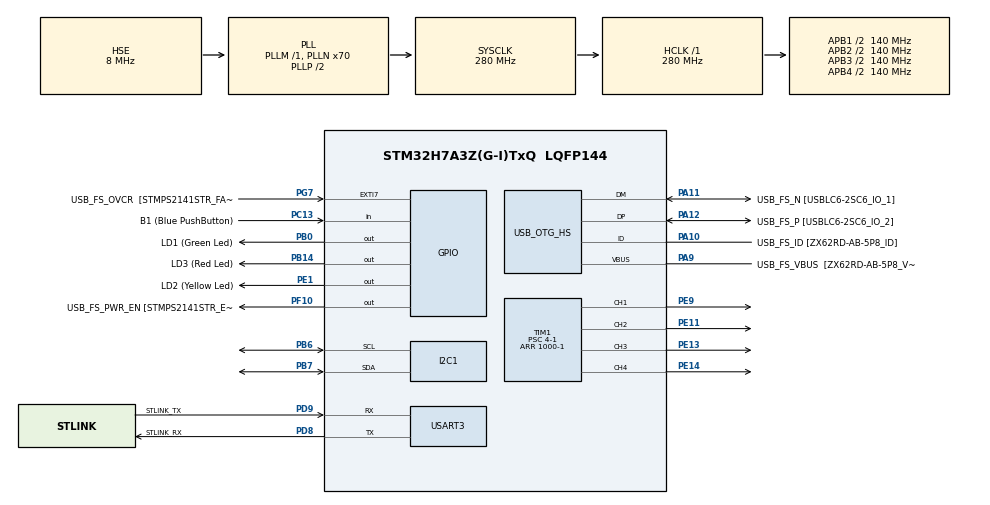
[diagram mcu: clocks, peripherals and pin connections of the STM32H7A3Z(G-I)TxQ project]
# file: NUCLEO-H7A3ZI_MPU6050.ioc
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I2C1.Timing=0x20B0CCFF
Mcu.Family=STM32H7
Mcu.Name=STM32H7A3Z(G-I)TxQ
Mcu.Package=LQFP144
NVIC.PriorityGroup=NVIC_PRIORITYGROUP_4
NVIC.TIM7_IRQn=true\:0\:0\:false\:false\:true\:true\:true\:true
PA10.GPIO_Label=USB_FS_ID [ZX62RD-AB-5P8_ID]
PA10.Mode=OTG/Dual-Role-Device-FS
PA10.Signal=USB_OTG_HS_ID
PA11.GPIO_Label=USB_FS_N [USBLC6-2SC6_IO_1]
PA11.Mode=OTG/Dual-Role-Device-FS
PA11.Signal=USB_OTG_HS_DM
PA12.GPIO_Label=USB_FS_P [USBLC6-2SC6_IO_2]
PA12.Mode=OTG/Dual-Role-Device-FS
PA12.Signal=USB_OTG_HS_DP
PA9.GPIO_Label=USB_FS_VBUS  [ZX62RD-AB-5P8_VBUS]
PA9.Mode=Activate_VBUS_FS
PA9.Signal=USB_OTG_HS_VBUS
PB0.GPIO_Label=LD1 (Green Led)
PB0.Signal=GPIO_Output
PB14.GPIO_Label=LD3 (Red Led)
PB14.Signal=GPIO_Output
PB6.Mode=I2C
PB6.Signal=I2C1_SCL
PB7.Mode=I2C
PB7.Signal=I2C1_SDA
PC13.GPIO_Label=B1 (Blue PushButton)
PC13.Signal=GPIO_Input
PC14-OSC32_IN.GPIO_Label=OSC32_IN
PC14-OSC32_IN.Mode=LSE-External-Oscillator
PC14-OSC32_IN.Signal=RCC_OSC32_IN
PC15-OSC32_OUT.GPIO_Label=OSC32_OUT
PC15-OSC32_OUT.Mode=LSE-External-Oscillator
PC15-OSC32_OUT.Signal=RCC_OSC32_OUT
PD8.GPIO_Label=STLINK_RX
PD8.Mode=Asynchronous
PD8.Signal=USART3_TX
PD9.GPIO_Label=STLINK_TX
PD9.Mode=Asynchronous
PD9.Signal=USART3_RX
PE1.GPIO_Label=LD2 (Yellow Led)
PE1.Signal=GPIO_Output
PE11.Signal=S_TIM1_CH2
PE13.Signal=S_TIM1_CH3
PE14.Signal=S_TIM1_CH4
PE9.Signal=S_TIM1_CH1
PF10.GPIO_Label=USB_FS_PWR_EN [STMPS2141STR_EN]
PF10.Signal=GPIO_Output
PG7.GPIO_Label=USB_FS_OVCR  [STMPS2141STR_FAULT]
PG7.Signal=GPXTI7
PH0-OSC_IN.GPIO_Label=PH0-MCU
PH0-OSC_IN.Mode=HSE-External-Clock-Source
PH0-OSC_IN.Signal=RCC_OSC_IN
PH1-OSC_OUT.GPIO_Label=PH1-MCU
PH1-OSC_OUT.Signal=RCC_OSC_OUT
ProjectManager.HeapSize=0x200
ProjectManager.StackSize=0x400
ProjectManager.TargetToolchain=STM32CubeIDE
RCC.ADCFreq_Value=16125000
RCC.APB1Freq_Value=140000000
RCC.APB2Freq_Value=140000000
RCC.APB3Freq_Value=140000000
RCC.APB4Freq_Value=140000000
RCC.CDPPRE=RCC_APB3_DIV2
RCC.CDPPRE1=RCC_APB1_DIV2
RCC.CDPPRE2=RCC_APB2_DIV2
RCC.CortexFreq_Value=280000000
RCC.DIVM1=1
RCC.DIVM3=1
RCC.DIVN1=70
RCC.DIVN3=24
RCC.DIVQ1=4
RCC.HCLKFreq_Value=280000000
RCC.HSE_VALUE=8000000
RCC.PLLFRACN=0
RCC.PLLSourceVirtual=RCC_PLLSOURCE_HSE
RCC.PWR_Regulator_Voltage_Scale=PWR_REGULATOR_VOLTAGE_SCALE0
RCC.SRDPPRE=RCC_APB4_DIV2
RCC.SYSCLKFreq_VALUE=280000000
RCC.SYSCLKSource=RCC_SYSCLKSOURCE_PLLCLK
RCC.SupplySource=PWR_DIRECT_SMPS_SUPPLY
RCC.USBCLockSelection=RCC_USBCLKSOURCE_HSI48
RCC.USBFreq_Value=48000000
SH.S_TIM1_CH1.0=TIM1_CH1,PWM Generation1 CH1
SH.S_TIM1_CH2.0=TIM1_CH2,PWM Generation2 CH2
SH.S_TIM1_CH3.0=TIM1_CH3,PWM Generation3 CH3
SH.S_TIM1_CH4.0=TIM1_CH4,PWM Generation4 CH4
TIM1.Channel-PWM\ Generation1\ CH1=TIM_CHANNEL_1
TIM1.Channel-PWM\ Generation2\ CH2=TIM_CHANNEL_2
TIM1.Channel-PWM\ Generation3\ CH3=TIM_CHANNEL_3
TIM1.Channel-PWM\ Generation4\ CH4=TIM_CHANNEL_4
TIM1.Period=1000-1
TIM1.Prescaler=4-1
TIM7.Period=1000-1
TIM7.Prescaler=28000-1
USART3.VirtualMode-Asynchronous=VM_ASYNC
VP_TIM1_VS_ClockSourceINT.Mode=Internal
VP_TIM7_VS_ClockSourceINT.Mode=Enable_Timer
board=NUCLEO-H7A3ZI-Q

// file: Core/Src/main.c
/* USER CODE BEGIN Header */
/**
 ******************************************************************************
 * @file           : main.c
 * @brief          : Main program body
 ******************************************************************************
 * @attention
 *
 * Copyright (c) 2023 STMicroelectronics.
 * All rights reserved.
 *
 * This software is licensed under terms that can be found in the LICENSE file
 * in the root directory of this software component.
 * If no LICENSE file comes with this software, it is provided AS-IS.
 *
 ******************************************************************************
 */
/* USER CODE END Header */
#include "main.h"
#include "i2c.h"
#include "tim.h"
#include "usart.h"
#include "usb_otg.h"
#include "gpio.h"

/* USER CODE BEGIN PD */
#define UARTTXSIZE 32
#define MPU6050_ADDR 0xD0
#define SMPLRT_DIV_REG 0x19
#define GYRO_CONFIG_REG 0x1B
#define ACCEL_CONFIG_REG 0x1C
#define ACCEL_XOUT_H_REG 0x3B
#define TEMP_OUT_H_REG 0x41
#define GYRO_XOUT_H_REG 0x43
#define PWR_MGMT_1_REG 0x6B
#define WHO_AM_I_REG 0x75

/* USER CODE END PD */

/* USER CODE BEGIN PV */
uint8_t timFlagIt = 0;
float x,y,z;
char uartTxBuffer[UARTTXSIZE];
uint8_t sizeStr;
uint8_t check;
/* USER CODE END PV */

void SystemClock_Config(void);

int main(void)
{

	/* MCU Configuration--------------------------------------------------------*/

	/* Reset of all peripherals, Initializes the Flash interface and the Systick. */
	HAL_Init();

	/* Configure the system clock */
	SystemClock_Config();

	/* Initialize all configured peripherals */
	MX_GPIO_Init();
	MX_USART3_UART_Init();
	MX_USB_OTG_HS_USB_Init();
	MX_I2C1_Init();						 //I2C port used here to communicate (and especially read) information received by
	MX_TIM7_Init();                      //Timer defined to just have a acceptable clock to display on Putty (for Windows) the X,Y,Z acceleration and angular velocity.
	MX_TIM1_Init();						 //Timer used here to set a PWM for controlling the motors.
	/* USER CODE BEGIN 2 */
	HAL_TIM_Base_Start_IT(&htim7);
	HAL_TIM_PWM_Start(&htim1, TIM_CHANNEL_1); //Start the PWM we wanted for each motor.
	HAL_TIM_PWM_Start(&htim1, TIM_CHANNEL_2);
	HAL_TIM_PWM_Start(&htim1, TIM_CHANNEL_3);
	HAL_TIM_PWM_Start(&htim1, TIM_CHANNEL_4);
	__HAL_TIM_SET_COMPARE(&htim1, TIM_CHANNEL_1, 800); //Function already implemented in HAL library and allows to compare to a variable CCR (here 800, choosed by myself) and get the exact duty cycle we wanted.
	__HAL_TIM_SET_COMPARE(&htim1, TIM_CHANNEL_2, 600);
	__HAL_TIM_SET_COMPARE(&htim1, TIM_CHANNEL_3, 400);
	__HAL_TIM_SET_COMPARE(&htim1, TIM_CHANNEL_4, 200);

	//Init MPU6050
	HAL_I2C_Mem_Read(&hi2c1, MPU6050_ADDR, WHO_AM_I_REG, 1, &check, 1, 1000);
	if (check == 0x68)  // 0x68 will be returned by the sensor if everything goes well according to the DataSheet
	{
		uint8_t Data;
		// power management register 0X6B we should write all 0's to wake the sensor up
		Data = 0;
		HAL_I2C_Mem_Write(&hi2c1, MPU6050_ADDR, PWR_MGMT_1_REG, 1,&Data, 1, 1000);

		// Set DATA RATE of 1KHz by writing SMPLRT_DIV register
		Data = 0x07;
		HAL_I2C_Mem_Write(&hi2c1, MPU6050_ADDR, SMPLRT_DIV_REG, 1, &Data, 1, 1000);

		// Set accelerometer configuration in ACCEL_CONFIG Register
		// XA_ST=0,YA_ST=0,ZA_ST=0, FS_SEL=0 -> ± 2g
		Data = 0x00;
		HAL_I2C_Mem_Write(&hi2c1, MPU6050_ADDR, ACCEL_CONFIG_REG, 1, &Data, 1, 1000);

		// Set Gyroscopic configuration in GYRO_CONFIG Register
		// XG_ST=0,YG_ST=0,ZG_ST=0, FS_SEL=0 -> ± 250 °/s
		Data = 0x00;
		HAL_I2C_Mem_Write(&hi2c1, MPU6050_ADDR, GYRO_CONFIG_REG, 1, &Data, 1, 1000);
	}
	/* USER CODE END 2 */

	/* Infinite loop */
	/* USER CODE BEGIN WHILE */
	while (1)
	{
		if(timFlagIt){
			uint8_t Rec_Data[6];
			int16_t Accel_X_RAW = 0;
			int16_t Accel_Y_RAW = 0;
			int16_t Accel_Z_RAW = 0;
			HAL_I2C_Mem_Read (&hi2c1, MPU6050_ADDR, ACCEL_XOUT_H_REG, 1, Rec_Data, 6, 1000); //We use HAL library to read 6 bytes data using I2C communication

			Accel_X_RAW = (int16_t)(Rec_Data[0] << 8 | Rec_Data [1]); //We define a Rec_Data array to stock data
			Accel_Y_RAW = (int16_t)(Rec_Data[2] << 8 | Rec_Data [3]); //received from the MPU6050 in variables
			Accel_Z_RAW = (int16_t)(Rec_Data[4] << 8 | Rec_Data [5]); //Accel_X_RAW, Accel_Y_RAW and Accel_Z_RAW
																	  //which are 16bits signed integer (int16_t).
			x = Accel_X_RAW/16384.0; //Same here. But we divide by 16384.0 to obtain acceleration values in gravity units (in g).
			y = Accel_Y_RAW/16384.0;
			z = Accel_Z_RAW/16384.0;

			sizeStr = snprintf(uartTxBuffer, UARTTXSIZE, "X=%1.3f, Y=%1.3f, Z=%1.3f\r\n",x,y,z); //snprintf is used to format the values of x, y, and z into a string and stores it in uartTxBuffer

			HAL_UART_Transmit(&huart3, uartTxBuffer, sizeStr, 100); //the string is transmitted over UART using HAL.

			int16_t Accel_PHI_RAW = 0;
			int16_t Accel_THETA_RAW = 0;
			int16_t Accel_PSI_RAW = 0;
			HAL_I2C_Mem_Read (&hi2c1, MPU6050_ADDR, GYRO_XOUT_H_REG, 1, Rec_Data, 6, 1000);

			Accel_PHI_RAW = (int16_t)(Rec_Data[0] << 8 | Rec_Data [1]); //Same here to get the angular velocity.
			Accel_THETA_RAW = (int16_t)(Rec_Data[2] << 8 | Rec_Data [3]);
			Accel_PSI_RAW = (int16_t)(Rec_Data[4] << 8 | Rec_Data [5]);

			float PHI = Accel_PHI_RAW/16384.0;
			float THETA = Accel_THETA_RAW/16384.0;
			float PSI = Accel_PSI_RAW/16384.0;

			sizeStr = snprintf(uartTxBuffer, UARTTXSIZE, "PHI=%1.3f, THETA=%1.3f, PSI=%1.3f\r\n",PHI,THETA,PSI);
			HAL_UART_Transmit(&huart3, uartTxBuffer, sizeStr, 100);

			timFlagIt = 0; //Making sure the loop does work properly.

		}
		/* USER CODE END WHILE */
	}
	/* USER CODE END 3 */
}

void SystemClock_Config(void)
{
	RCC_OscInitTypeDef RCC_OscInitStruct = {0};
	RCC_ClkInitTypeDef RCC_ClkInitStruct = {0};

	/*AXI clock gating */
	RCC->CKGAENR = 0xFFFFFFFF;

	/** Supply configuration update enable
	 */
	HAL_PWREx_ConfigSupply(PWR_DIRECT_SMPS_SUPPLY);

	/** Configure the main internal regulator output voltage
	 */
	__HAL_PWR_VOLTAGESCALING_CONFIG(PWR_REGULATOR_VOLTAGE_SCALE0);

	while(!__HAL_PWR_GET_FLAG(PWR_FLAG_VOSRDY)) {}

	/** Initializes the RCC Oscillators according to the specified parameters
	 * in the RCC_OscInitTypeDef structure.
	 */
	RCC_OscInitStruct.OscillatorType = RCC_OSCILLATORTYPE_HSI48|RCC_OSCILLATORTYPE_HSE;
	RCC_OscInitStruct.HSEState = RCC_HSE_BYPASS;
	RCC_OscInitStruct.HSI48State = RCC_HSI48_ON;
	RCC_OscInitStruct.PLL.PLLState = RCC_PLL_ON;
	RCC_OscInitStruct.PLL.PLLSource = RCC_PLLSOURCE_HSE;
	RCC_OscInitStruct.PLL.PLLM = 1;
	RCC_OscInitStruct.PLL.PLLN = 70;
	RCC_OscInitStruct.PLL.PLLP = 2;
	RCC_OscInitStruct.PLL.PLLQ = 4;
	RCC_OscInitStruct.PLL.PLLR = 2;
	RCC_OscInitStruct.PLL.PLLRGE = RCC_PLL1VCIRANGE_3;
	RCC_OscInitStruct.PLL.PLLVCOSEL = RCC_PLL1VCOWIDE;
	RCC_OscInitStruct.PLL.PLLFRACN = 0;
	if (HAL_RCC_OscConfig(&RCC_OscInitStruct) != HAL_OK)
	{
		Error_Handler();
	}

	/** Initializes the CPU, AHB and APB buses clocks
	 */
	RCC_ClkInitStruct.ClockType = RCC_CLOCKTYPE_HCLK|RCC_CLOCKTYPE_SYSCLK
			|RCC_CLOCKTYPE_PCLK1|RCC_CLOCKTYPE_PCLK2
			|RCC_CLOCKTYPE_D3PCLK1|RCC_CLOCKTYPE_D1PCLK1;
	RCC_ClkInitStruct.SYSCLKSource = RCC_SYSCLKSOURCE_PLLCLK;
	RCC_ClkInitStruct.SYSCLKDivider = RCC_SYSCLK_DIV1;
	RCC_ClkInitStruct.AHBCLKDivider = RCC_HCLK_DIV1;
	RCC_ClkInitStruct.APB3CLKDivider = RCC_APB3_DIV2;
	RCC_ClkInitStruct.APB1CLKDivider = RCC_APB1_DIV2;
	RCC_ClkInitStruct.APB2CLKDivider = RCC_APB2_DIV2;
	RCC_ClkInitStruct.APB4CLKDivider = RCC_APB4_DIV2;

	if (HAL_RCC_ClockConfig(&RCC_ClkInitStruct, FLASH_LATENCY_7) != HAL_OK)
	{
		Error_Handler();
	}
}

/* USER CODE BEGIN 4 */
void HAL_TIM_PeriodElapsedCallback(TIM_HandleTypeDef *htim)
{
	HAL_GPIO_TogglePin(LD1_GPIO_Port, LD1_Pin);
	timFlagIt = 1;
}
//This function is a callback function to deal with interuptions of the clock in the process.

/* USER CODE END 4 */

void Error_Handler(void)
{
	__disable_irq();
	while (1)
	{
	}
}
